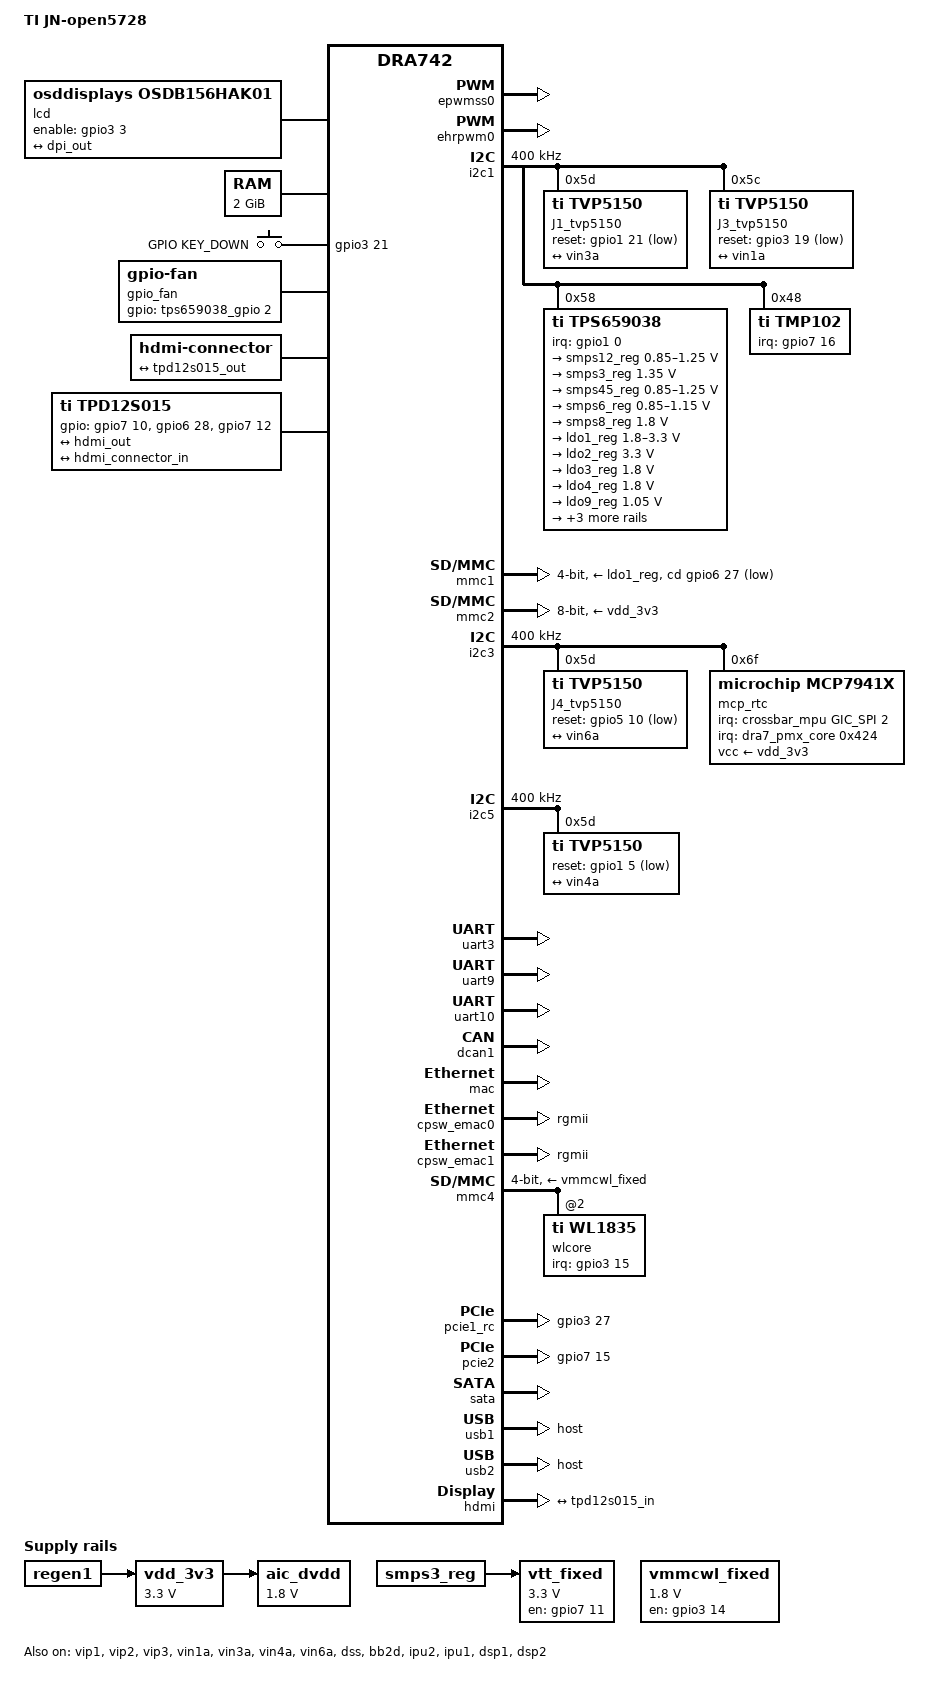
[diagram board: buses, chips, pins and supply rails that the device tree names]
/*
 * Copyright (C) 2014 Texas Instruments Incorporated - http://www.ti.com/
 *
 * This program is free software; you can redistribute it and/or modify
 * it under the terms of the GNU General Public License version 2 as
 * published by the Free Software Foundation.
 */
/dts-v1/;

#include "dra74x.dtsi"
#include <dt-bindings/gpio/gpio.h>
#include <dt-bindings/interrupt-controller/irq.h>

/ {
	model = "TI JN-open5728";
	compatible = "ti,JN-open5728", "ti,am5728", "ti,dra742", "ti,dra74", "ti,dra7";

	aliases {
		rtc0 = &mcp_rtc;
		rtc1 = &tps659038_rtc;
		rtc2 = &rtc;
		display0 = &hdmi0;
		display1 = &lcd0;
	};

    lcd0: display {
		compatible = "osddisplays,osdb156hak01", "panel-dpi";

		label = "lcd";
		
        enable-gpios = <&gpio3 3 GPIO_ACTIVE_HIGH>;

		panel-timing {
			clock-frequency = <141000000>;
			hactive = <1920>;
			vactive = <1080>;
			hfront-porch = <124>;
			hback-porch = <50>;
			hsync-len = <10>;
			vfront-porch = <16>;
			vback-porch = <10>;
			vsync-len = <10>;
			hsync-active = <1>;
			vsync-active = <1>;
			de-active = <1>;
			pixelclk-active = <1>;
		};

		port {
			lcd_in: endpoint {
				remote-endpoint = <&dpi_out>;
				data-lines = <18>;
			};
		};
	};

	memory {
		device_type = "memory";
		reg = <0x0 0x80000000 0x0 0x80000000>;
	};

    keys {
        compatible = "gpio-keys";
        key@0 {
            autorepeat;
            label = "GPIO KEY_DOWN";
            gpios = <&gpio3 21 0>;
            linux,input-type = <1>;
            linux,code = <108>;
            debounce-interval = <500>;
        };
    };

	reserved-memory {
		#address-cells = <2>;
		#size-cells = <2>;
		ranges;

		ipu2_cma_pool: ipu2_cma@95800000 {
			compatible = "shared-dma-pool";
			reg = <0x0 0x95800000 0x0 0x3800000>;
			reusable;
			status = "okay";
		};

		dsp1_cma_pool: dsp1_cma@99000000 {
			compatible = "shared-dma-pool";
			reg = <0x0 0x99000000 0x0 0x4000000>;
			reusable;
			status = "okay";
		};

		ipu1_cma_pool: ipu1_cma@9d000000 {
			compatible = "shared-dma-pool";
			reg = <0x0 0x9d000000 0x0 0x2000000>;
			reusable;
			status = "okay";
		};

		dsp2_cma_pool: dsp2_cma@9f000000 {
			compatible = "shared-dma-pool";
			reg = <0x0 0x9f000000 0x0 0x800000>;
			reusable;
			status = "okay";
		};
	};

	vdd_3v3: fixedregulator-vdd_3v3 {
		compatible = "regulator-fixed";
		regulator-name = "vdd_3v3";
		vin-supply = <&regen1>;
		regulator-min-microvolt = <3300000>;
		regulator-max-microvolt = <3300000>;
	};

	aic_dvdd: fixedregulator-aic_dvdd {
		compatible = "regulator-fixed";
		regulator-name = "aic_dvdd_fixed";
		vin-supply = <&vdd_3v3>;
		regulator-min-microvolt = <1800000>;
		regulator-max-microvolt = <1800000>;
	};

	vtt_fixed: fixedregulator-vtt {
		/* TPS51200 */
		compatible = "regulator-fixed";
		regulator-name = "vtt_fixed";
		vin-supply = <&smps3_reg>;
		regulator-min-microvolt = <3300000>;
		regulator-max-microvolt = <3300000>;
		regulator-always-on;
		regulator-boot-on;
		enable-active-high;
		gpio = <&gpio7 11 GPIO_ACTIVE_HIGH>;
	};

    vmmcwl_fixed: fixedregulator-mmcwl {
                compatible = "regulator-fixed";
                regulator-name = "vmmcwl_fixed";
                regulator-min-microvolt = <1800000>;
                regulator-max-microvolt = <1800000>;
                gpio = <&gpio3 14 GPIO_ACTIVE_HIGH>; 
                startup-delay-us = <70000>;
                enable-active-high;
         };
    
    tibt {
                compatible = "tibt";
                nshutdown_gpio = <239>;
                dev_name = "/dev/ttyS9";
                flow_cntrl = <1>;
                baud_rate = <3000000>;
         };

	gpio_fan: gpio_fan {
		/* Based on 5v 500mA AFB02505HHB */
		compatible = "gpio-fan";
		gpios =  <&tps659038_gpio 2 GPIO_ACTIVE_HIGH>;
		gpio-fan,speed-map = <0     0>,
				     <13000 1>;
		#cooling-cells = <2>;
	};

	hdmi0: connector {
		compatible = "hdmi-connector";
		label = "hdmi";

		type = "a";

		port {
			hdmi_connector_in: endpoint {
				remote-endpoint = <&tpd12s015_out>;
			};
		};
	};

	tpd12s015: encoder {
		compatible = "ti,tpd12s015";

		gpios = <&gpio7 10 GPIO_ACTIVE_HIGH>,	/* gpio7_10, CT CP HPD */
			<&gpio6 28 GPIO_ACTIVE_HIGH>,	/* gpio6_28, LS OE */
			<&gpio7 12 GPIO_ACTIVE_HIGH>;	/* gpio7_12/sp1_cs2, HPD */

		ports {
			#address-cells = <1>;
			#size-cells = <0>;

			port@0 {
				reg = <0>;

				tpd12s015_in: endpoint {
					remote-endpoint = <&hdmi_out>;
				};
			};

			port@1 {
				reg = <1>;

				tpd12s015_out: endpoint {
					remote-endpoint = <&hdmi_connector_in>;
				};
			};
		};
	};

};

&epwmss0 {
	status = "okay";
};

&ehrpwm0 {
	status = "okay";
};

&vip1 {
	    status = "okay";
};

&vip2{
	    status = "okay";
};

&vip3{
	    status = "okay";
};

&vin1a{
	status = "okay";
	endpoint {
		slave-mode;
		remote-endpoint = <&tvp5150_5c_j3_out>;
	};
};

&vin3a{
	status = "okay";
	endpoint{
		slave-mode;
		remote-endpoint = <&tvp5150_5d_j1_out>;
	};
};

&vin4a{
	status = "okay";
	endpoint{
		slave-mode;
		remote-endpoint = <&tvp5150_5d>;
	};
};

&vin6a {
	status = "okay";
	endpoint {
		slave-mode;
		remote-endpoint = <&tvp5150_5d_j4_out>;
	};
};


&i2c1 {
	status = "okay";
	clock-frequency = <400000>;

	J1_tvp5150@5D {
		compatible = "ti,tvp5150";
		reg = <0x5D>;
		pdn-gpios = <0>;
		reset-gpios = <&gpio1 21 GPIO_ACTIVE_LOW>;
		port {
			tvp5150_5d_j1_out: endpoint {
				remote-endpoint = <&vin3a>;
				hsync-active = <1>;
				vsync-active = <1>;
				bus-width = <8>;
			};
		};
	};

	J3_tvp5150@5C {
		compatible = "ti,tvp5150";
		reg = <0x5C>;
		pdn-gpios = <0>;
		reset-gpios = <&gpio3 19 GPIO_ACTIVE_LOW>;
		port {
			tvp5150_5c_j3_out: endpoint {
				remote-endpoint = <&vin1a>;
				hsync-active = <1>;
				vsync-active = <1>;
				bus-width = <8>;
			};
		};
	};

	tps659038: tps659038@58 {
		compatible = "ti,tps659038";
		reg = <0x58>;
		interrupt-parent = <&gpio1>;
		interrupts = <0 IRQ_TYPE_LEVEL_LOW>;

		#interrupt-cells = <2>;
		interrupt-controller;

		ti,system-power-controller;
		ti,palmas-override-powerhold;

		tps659038_pmic {
			compatible = "ti,tps659038-pmic";

			regulators {
				smps12_reg: smps12 {
					/* VDD_MPU */
					regulator-name = "smps12";
					regulator-min-microvolt = < 850000>;
					regulator-max-microvolt = <1250000>;
					regulator-always-on;
					regulator-boot-on;
				};

				smps3_reg: smps3 {
					/* VDD_DDR */
					regulator-name = "smps3";
					regulator-min-microvolt = <1350000>;
					regulator-max-microvolt = <1350000>;
					regulator-always-on;
					regulator-boot-on;
				};

				smps45_reg: smps45 {
					/* VDD_DSPEVE, VDD_IVA, VDD_GPU */
					regulator-name = "smps45";
					regulator-min-microvolt = < 850000>;
					regulator-max-microvolt = <1250000>;
					regulator-always-on;
					regulator-boot-on;
				};

				smps6_reg: smps6 {
					/* VDD_CORE */
					regulator-name = "smps6";
					regulator-min-microvolt = <850000>;
					regulator-max-microvolt = <1150000>;
					regulator-always-on;
					regulator-boot-on;
				};

				/* SMPS7 unused */

				smps8_reg: smps8 {
					/* VDD_1V8 */
					regulator-name = "smps8";
					regulator-min-microvolt = <1800000>;
					regulator-max-microvolt = <1800000>;
					regulator-always-on;
					regulator-boot-on;
				};

				/* SMPS9 unused */

				ldo1_reg: ldo1 {
					/* VDD_SD / VDDSHV8  */
					regulator-name = "ldo1";
					regulator-min-microvolt = <1800000>;
					regulator-max-microvolt = <3300000>;
					regulator-boot-on;
					regulator-always-on;
				};

				ldo2_reg: ldo2 {
					/* VDD_SHV5 */
					regulator-name = "ldo2";
					regulator-min-microvolt = <3300000>;
					regulator-max-microvolt = <3300000>;
					regulator-always-on;
					regulator-boot-on;
				};

				ldo3_reg: ldo3 {
					/* VDDA_1V8_PHYA */
					regulator-name = "ldo3";
					regulator-min-microvolt = <1800000>;
					regulator-max-microvolt = <1800000>;
					regulator-always-on;
					regulator-boot-on;
				};

				ldo4_reg: ldo4 {
					/* VDDA_1V8_PHYB */
					regulator-name = "ldo4";
					regulator-min-microvolt = <1800000>;
					regulator-max-microvolt = <1800000>;
					regulator-always-on;
					regulator-boot-on;
				};

				ldo9_reg: ldo9 {
					/* VDD_RTC */
					regulator-name = "ldo9";
					regulator-min-microvolt = <1050000>;
					regulator-max-microvolt = <1050000>;
					regulator-always-on;
					regulator-boot-on;
				};

				ldoln_reg: ldoln {
					/* VDDA_1V8_PLL */
					regulator-name = "ldoln";
					regulator-min-microvolt = <1800000>;
					regulator-max-microvolt = <1800000>;
					regulator-always-on;
					regulator-boot-on;
				};

				ldousb_reg: ldousb {
					/* VDDA_3V_USB: VDDA_USBHS33 */
					regulator-name = "ldousb";
					regulator-min-microvolt = <3300000>;
					regulator-max-microvolt = <3300000>;
					regulator-boot-on;
				};

				regen1: regen1 {
					/* VDD_3V3_ON */
					regulator-name = "regen1";
					regulator-boot-on;
					regulator-always-on;
				};
			};
		};

		tps659038_rtc: tps659038_rtc {
			compatible = "ti,palmas-rtc";
			interrupt-parent = <&tps659038>;
			interrupts = <8 IRQ_TYPE_EDGE_FALLING>;
			wakeup-source;
		};

		tps659038_pwr_button: tps659038_pwr_button {
			compatible = "ti,palmas-pwrbutton";
			interrupt-parent = <&tps659038>;
			interrupts = <1 IRQ_TYPE_EDGE_FALLING>;
			wakeup-source;
			ti,palmas-long-press-seconds = <12>;
		};

		tps659038_gpio: tps659038_gpio {
			compatible = "ti,palmas-gpio";
			gpio-controller;
			#gpio-cells = <2>;
		};

		extcon_usb2: tps659038_usb {
			compatible = "ti,palmas-usb-vid";
			ti,enable-vbus-detection;
			vbus-gpio = <&gpio4 21 GPIO_ACTIVE_HIGH>;
		};

	};

	tmp102: tmp102@48 {
		compatible = "ti,tmp102";
		reg = <0x48>;
		interrupt-parent = <&gpio7>;
		interrupts = <16 IRQ_TYPE_LEVEL_LOW>;
		#thermal-sensor-cells = <1>;
	};

};

&dra7_pmx_core {
	mmc1_pins_default: mmc1_pins_default {
		pinctrl-single,pins = <
			DRA7XX_CORE_IOPAD(0x3754, (PIN_INPUT_PULLUP | MUX_MODE0)) /* mmc1_clk.clk */
			DRA7XX_CORE_IOPAD(0x3758, (PIN_INPUT_PULLUP | MUX_MODE0)) /* mmc1_cmd.cmd */
			DRA7XX_CORE_IOPAD(0x375c, (PIN_INPUT_PULLUP | MUX_MODE0)) /* mmc1_dat0.dat0 */
			DRA7XX_CORE_IOPAD(0x3760, (PIN_INPUT_PULLUP | MUX_MODE0)) /* mmc1_dat1.dat1 */
			DRA7XX_CORE_IOPAD(0x3764, (PIN_INPUT_PULLUP | MUX_MODE0)) /* mmc1_dat2.dat2 */
			DRA7XX_CORE_IOPAD(0x3768, (PIN_INPUT_PULLUP | MUX_MODE0)) /* mmc1_dat3.dat3 */
		>;
	};

	mmc2_pins_default: mmc2_pins_default {
		pinctrl-single,pins = <
			DRA7XX_CORE_IOPAD(0x349c, (PIN_INPUT_PULLUP | MUX_MODE1)) /* gpmc_a23.mmc2_clk */
			DRA7XX_CORE_IOPAD(0x34b0, (PIN_INPUT_PULLUP | MUX_MODE1)) /* gpmc_cs1.mmc2_cmd */
			DRA7XX_CORE_IOPAD(0x34a0, (PIN_INPUT_PULLUP | MUX_MODE1)) /* gpmc_a24.mmc2_dat0 */
			DRA7XX_CORE_IOPAD(0x34a4, (PIN_INPUT_PULLUP | MUX_MODE1)) /* gpmc_a25.mmc2_dat1 */
			DRA7XX_CORE_IOPAD(0x34a8, (PIN_INPUT_PULLUP | MUX_MODE1)) /* gpmc_a26.mmc2_dat2 */
			DRA7XX_CORE_IOPAD(0x34ac, (PIN_INPUT_PULLUP | MUX_MODE1)) /* gpmc_a27.mmc2_dat3 */
			DRA7XX_CORE_IOPAD(0x348c, (PIN_INPUT_PULLUP | MUX_MODE1)) /* gpmc_a19.mmc2_dat4 */
			DRA7XX_CORE_IOPAD(0x3490, (PIN_INPUT_PULLUP | MUX_MODE1)) /* gpmc_a20.mmc2_dat5 */
			DRA7XX_CORE_IOPAD(0x3494, (PIN_INPUT_PULLUP | MUX_MODE1)) /* gpmc_a21.mmc2_dat6 */
			DRA7XX_CORE_IOPAD(0x3498, (PIN_INPUT_PULLUP | MUX_MODE1)) /* gpmc_a22.mmc2_dat7 */
		>;
	};
};

&mmc1 {
	status = "okay";
	
    pinctrl-names = "default";
	pinctrl-0 = <&mmc1_pins_default>;
};

&mmc2 {
	status = "okay";
	
    pinctrl-names = "default";
	pinctrl-0 = <&mmc2_pins_default>;
};

&i2c3 {
	status = "okay";
	clock-frequency = <400000>;

	J4_tvp5150@5D {
		compatible = "ti,tvp5150";
		reg = <0x5D>;
		pdn-gpios = <0>;
		reset-gpios = <&gpio5 10 GPIO_ACTIVE_LOW>;
		port {
			tvp5150_5d_j4_out: endpoint {
				remote-endpoint = <&vin6a>;
				hsync-active = <1>;
				vsync-active = <1>;
				bus-width = <8>;
			};
		};
	};
	
	mcp_rtc: rtc@6f {
		compatible = "microchip,mcp7941x";
		reg = <0x6f>;
		interrupts-extended = <&crossbar_mpu GIC_SPI 2 IRQ_TYPE_EDGE_RISING>,
				      <&dra7_pmx_core 0x424>;
		interrupt-names = "irq", "wakeup";

		vcc-supply = <&vdd_3v3>;
		wakeup-source;
	};
};

&i2c5 {
	status = "okay";
	clock-frequency = <400000>;

	tvp5150@5D {
		compatible = "ti,tvp5150";
		reg = <0x5D>;
		pdn-gpios = <0>;
		reset-gpios = <&gpio1 5 GPIO_ACTIVE_LOW>;
		port {
			tvp5150_5d: endpoint {
				remote-endpoint = <&vin4a>;
				hsync-active = <1>;
				vsync-active = <1>;
				bus-width = <8>;
			};
		};
	};
};

&gpio7 {
	ti,no-reset-on-init;
	ti,no-idle-on-init;
};

&uart3 {
	status = "okay";
	interrupts-extended = <&crossbar_mpu GIC_SPI 69 IRQ_TYPE_LEVEL_HIGH>,
			      <&dra7_pmx_core 0x3f8>;
};

&uart9 {
        status = "okay";
};

&uart10 {
        status = "okay";
};

&dcan1 {
        status = "okay";
};

&mac {
	status = "okay";
	dual_emac;
};

&cpsw_emac0 {
	phy_id = <&davinci_mdio>, <1>;
	phy-mode = "rgmii";
	dual_emac_res_vlan = <1>;
};

&cpsw_emac1 {
	phy_id = <&davinci_mdio>, <2>;
	phy-mode = "rgmii";
	dual_emac_res_vlan = <2>;
};

&mmc1 {
	status = "okay";

	vmmc-supply = <&ldo1_reg>;
	bus-width = <4>;
	cd-gpios = <&gpio6 27 GPIO_ACTIVE_LOW>; /* gpio 219 */
};

&mmc2 {
	status = "okay";

	vmmc-supply = <&vdd_3v3>;
	bus-width = <8>;
	ti,non-removable;
	cap-mmc-dual-data-rate;
};

&mmc4 {
    status = "okay";
    vmmc-supply = <&vmmcwl_fixed>;
    bus-width = <4>;
    pinctrl-names = "default";
    pinctrl-0 = <&mmc4_pins>;
    max-frequency = <50000000>;
    ti,non-removable;
    ti,needs-special-hs-handling; 
    cap-power-off-card;
    keep-power-in-suspend;

    #address-cells = <1>;
    #size-cells = <0>;
    wlcore: wlcore@0 {
        compatible = "ti,wl1835";
        reg = <2>;
        interrupt-parent = <&gpio3>;
        interrupts = <15 IRQ_TYPE_LEVEL_HIGH>;
    };
};

&pcie1_rc {
	status = "okay";
	gpios = <&gpio3 27 GPIO_ACTIVE_HIGH>;
};

&pcie2 {
	status = "okay";
    gpios = <&gpio7 15 GPIO_ACTIVE_HIGH>;
};


&sata {
	status = "okay";
};

&usb2_phy1 {
	phy-supply = <&ldousb_reg>;
};

&usb2_phy2 {
	phy-supply = <&ldousb_reg>;
};

&usb1 {
	dr_mode = "host";
};

&omap_dwc3_2 {
	extcon = <&extcon_usb2>;
};

&usb2 {
	/*
	 * Stand alone usage is peripheral only.
	 * However, with some resistor modifications
	 * this port can be used via expansion connectors
	 * as "host" or "dual-role". If so, provide
	 * the necessary dr_mode override in the expansion
	 * board's DT.
	 */
	dr_mode = "host";
};

&cpu_trips {
	cpu_alert1: cpu_alert1 {
		temperature = <50000>; /* millicelsius */
		hysteresis = <2000>; /* millicelsius */
		type = "active";
	};
};

&cpu_cooling_maps {
	map1 {
		trip = <&cpu_alert1>;
		cooling-device = <&gpio_fan THERMAL_NO_LIMIT THERMAL_NO_LIMIT>;
	};
};

&thermal_zones {
	board_thermal: board_thermal {
		polling-delay-passive = <1250>; /* milliseconds */
		polling-delay = <1500>; /* milliseconds */

				/* sensor       ID */
		thermal-sensors = <&tmp102     0>;

		board_trips: trips {
			board_alert0: board_alert {
				temperature = <40000>; /* millicelsius */
				hysteresis = <2000>; /* millicelsius */
				type = "active";
			};

			board_crit: board_crit {
				temperature = <105000>; /* millicelsius */
				hysteresis = <0>; /* millicelsius */
				type = "critical";
			};
		};

		board_cooling_maps: cooling-maps {
			map0 {
				trip = <&board_alert0>;
				cooling-device =
				  <&gpio_fan THERMAL_NO_LIMIT THERMAL_NO_LIMIT>;
			};
		};
       };
};

&oppdm_mpu {
	vdd-supply = <&smps12_reg>;
};

&oppdm_dspeve {
	vdd-supply = <&smps45_reg>;
};

&oppdm_gpu {
	vdd-supply = <&smps45_reg>;
};

&oppdm_ivahd {
	vdd-supply = <&smps45_reg>;
};

&oppdm_core {
	vdd-supply = <&smps6_reg>;
};

&dss {
	status = "ok";
	vdda_video-supply = <&ldoln_reg>;

	ports {
		#address-cells = <1>;
		#size-cells = <0>;

		port@0 {
			reg = <0>;
			dpi_out: endpoint {
				remote-endpoint = <&lcd_in>;
				data-lines = <18>;
			};
		};
	};
};

&bb2d {
	status = "okay";
};

&hdmi {
	status = "ok";
	vdda-supply = <&ldo4_reg>;

	port {
		hdmi_out: endpoint {
			remote-endpoint = <&tpd12s015_in>;
		};
	};
};

&mailbox5 {
	status = "okay";
	mbox_ipu1_ipc3x: mbox_ipu1_ipc3x {
		status = "okay";
	};
	mbox_dsp1_ipc3x: mbox_dsp1_ipc3x {
		status = "okay";
	};
};

&mailbox6 {
	status = "okay";
	mbox_ipu2_ipc3x: mbox_ipu2_ipc3x {
		status = "okay";
	};
	mbox_dsp2_ipc3x: mbox_dsp2_ipc3x {
		status = "okay";
	};
};

&mmu0_dsp1 {
	status = "okay";
};

&mmu1_dsp1 {
	status = "okay";
};

&mmu0_dsp2 {
	status = "okay";
};

&mmu1_dsp2 {
	status = "okay";
};

&mmu_ipu1 {
	status = "okay";
};

&mmu_ipu2 {
	status = "okay";
};

&ipu2 {
	status = "okay";
	memory-region = <&ipu2_cma_pool>;
	mboxes = <&mailbox6 &mbox_ipu2_ipc3x>;
	timers = <&timer3>;
	watchdog-timers = <&timer4>, <&timer9>;
};

&ipu1 {
	status = "okay";
	memory-region = <&ipu1_cma_pool>;
	mboxes = <&mailbox5 &mbox_ipu1_ipc3x>;
	timers = <&timer11>;
};

&dsp1 {
	status = "okay";
	memory-region = <&dsp1_cma_pool>;
	mboxes = <&mailbox5 &mbox_dsp1_ipc3x>;
	timers = <&timer5>;
};

&dsp2 {
	status = "okay";
	memory-region = <&dsp2_cma_pool>;
	mboxes = <&mailbox6 &mbox_dsp2_ipc3x>;
	timers = <&timer6>;
};

